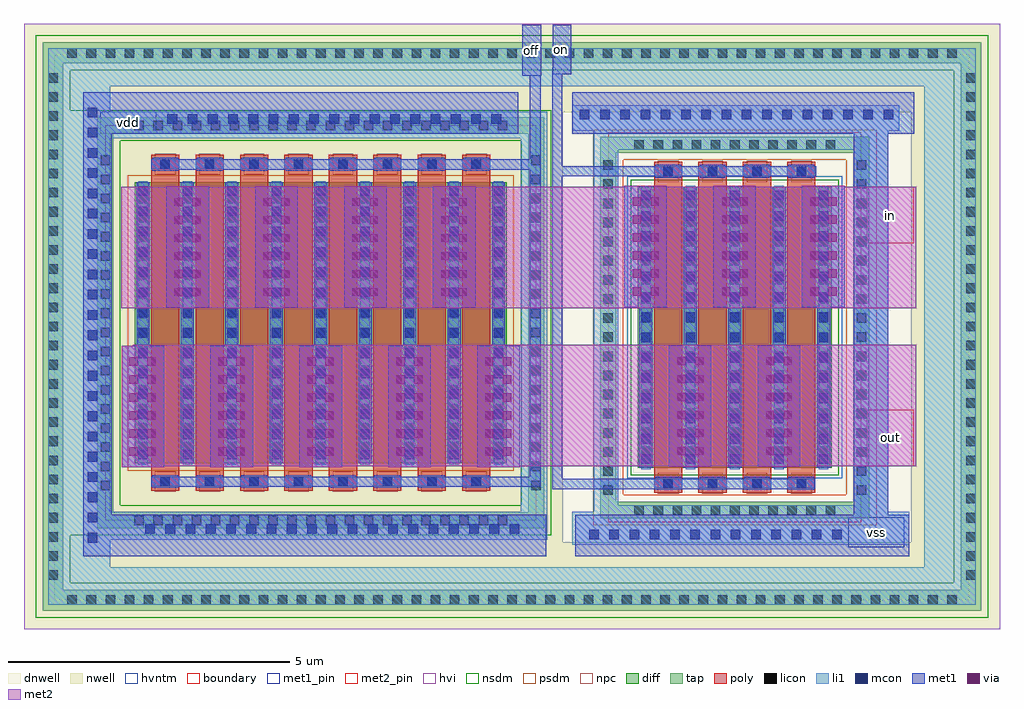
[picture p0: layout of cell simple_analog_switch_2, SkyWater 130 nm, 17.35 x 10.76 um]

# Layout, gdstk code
from math import pi, radians
import gdstk
lib = gdstk.Library(unit=1e-6, precision=1e-09)
def R(c, l, rs):  # rectangles x0, y0, x1, y1
    for r in rs: c.add(gdstk.rectangle(r[:2], r[2:], *l))
def A(c, l, x, y, w, h, nx, ny, dx, dy):  # array of equal rectangles
    R(c, l, [(x+i*dx, y+j*dy, x+i*dx+w, y+j*dy+h) for i in range(nx) for j in range(ny)])
dnwell = (64, 18)
nwell = (64, 20)
diff = (65, 20)
tap = (65, 44)
poly = (66, 20)
licon = (66, 44)
li1 = (67, 20)
mcon = (67, 44)
met1_pin = (68, 16)
met1 = (68, 20)
via = (68, 44)
met2_pin = (69, 16)
met2 = (69, 20)
hvi = (75, 20)
nsdm = (93, 44)
psdm = (94, 20)
npc = (95, 20)
hvntm = (125, 20)
boundary = (235, 4)

sky130_fd_pr__nfet_g5v0d = lib.new_cell('sky130_fd_pr__nfet_g5v0d10v5_N9BQ2J')
R(sky130_fd_pr__nfet_g5v0d, diff, [(-1.725,-2.5,1.725,2.5)])
R(sky130_fd_pr__nfet_g5v0d, tap, [(-2.395,-3.39,2.395,-3.1), (-2.395,-3.1,-2.105,3.1), (2.105,-3.1,2.395,3.1), (-2.395,3.1,2.395,3.39)])
A(sky130_fd_pr__nfet_g5v0d, poly, -1.435, -2.94, 0.5, 5.88, 4, 1, 0.79, 0)
A(sky130_fd_pr__nfet_g5v0d, licon, -1.785, -3.33, 0.17, 0.17, 11, 2, 0.34, 6.49)
A(sky130_fd_pr__nfet_g5v0d, licon, -2.335, -2.98, 0.17, 0.17, 1, 18, 0, 0.34)
A(sky130_fd_pr__nfet_g5v0d, licon, 2.165, -2.98, 0.17, 0.17, 1, 18, 0, 0.34)
A(sky130_fd_pr__nfet_g5v0d, licon, -1.27, -2.86, 0.17, 0.17, 4, 2, 0.79, 5.55)
A(sky130_fd_pr__nfet_g5v0d, licon, -1.665, -2.295, 0.17, 0.17, 5, 14, 0.79, 0.34)
A(sky130_fd_pr__nfet_g5v0d, li1, -1.435, -2.86, 0.5, 0.17, 4, 2, 0.79, 5.55)
A(sky130_fd_pr__nfet_g5v0d, li1, -1.665, -2.52, 0.17, 5.04, 5, 1, 0.79, 0)
R(sky130_fd_pr__nfet_g5v0d, li1, [(-2.335,-3.33,2.335,-3.16), (-2.335,-3.16,-2.165,3.16), (2.165,-3.16,2.335,3.16), (-2.335,3.16,2.335,3.33)])
A(sky130_fd_pr__nfet_g5v0d, mcon, -1.27, -2.86, 0.17, 0.17, 4, 2, 0.79, 5.55)
A(sky130_fd_pr__nfet_g5v0d, mcon, -1.665, -2.425, 0.17, 0.17, 5, 14, 0.79, 0.36)
A(sky130_fd_pr__nfet_g5v0d, met1, -1.415, -2.89, 0.46, 0.23, 4, 2, 0.79, 5.55)
A(sky130_fd_pr__nfet_g5v0d, met1, -1.695, -2.5, 0.23, 5, 5, 1, 0.79, 0)
R(sky130_fd_pr__nfet_g5v0d, hvi, [(-2.58,-3.575,2.58,3.575)])
R(sky130_fd_pr__nfet_g5v0d, nsdm, [(-1.85,-2.625,1.85,2.625)])
R(sky130_fd_pr__nfet_g5v0d, psdm, [(-2.52,-3.515,2.52,-2.975), (-2.52,-2.975,-1.98,2.975), (1.98,-2.975,2.52,2.975), (-2.52,2.975,2.52,3.515)])
A(sky130_fd_pr__nfet_g5v0d, npc, -1.37, -2.96, 0.37, 0.37, 4, 2, 0.79, 5.55)
R(sky130_fd_pr__nfet_g5v0d, hvntm, [(-1.91,-2.685,1.91,2.685)])
R(sky130_fd_pr__nfet_g5v0d, boundary, [(-2.25,-3.465,2.25,3.465)])

sky130_fd_pr__pfet_g5v0d = lib.new_cell('sky130_fd_pr__pfet_g5v0d10v5_KLJ6Y6')
R(sky130_fd_pr__pfet_g5v0d, nwell, [(-4.305,-3.985,4.305,3.985)])
R(sky130_fd_pr__pfet_g5v0d, diff, [(-3.305,-2.5,3.305,2.5)])
R(sky130_fd_pr__pfet_g5v0d, tap, [(-3.975,-3.655,3.975,-3.365), (-3.975,-3.365,-3.685,3.365), (3.685,-3.365,3.975,3.365), (-3.975,3.365,3.975,3.655)])
A(sky130_fd_pr__pfet_g5v0d, poly, -3.015, -2.985, 0.5, 5.97, 8, 1, 0.79, 0)
A(sky130_fd_pr__pfet_g5v0d, licon, -3.315, -3.595, 0.17, 0.17, 20, 2, 0.34, 7.02)
A(sky130_fd_pr__pfet_g5v0d, licon, -3.915, -2.975, 0.17, 0.17, 1, 18, 0, 0.34)
A(sky130_fd_pr__pfet_g5v0d, licon, 3.745, -2.975, 0.17, 0.17, 1, 18, 0, 0.34)
A(sky130_fd_pr__pfet_g5v0d, licon, -2.85, -2.905, 0.17, 0.17, 8, 2, 0.79, 5.64)
A(sky130_fd_pr__pfet_g5v0d, licon, -3.245, -2.295, 0.17, 0.17, 9, 14, 0.79, 0.34)
A(sky130_fd_pr__pfet_g5v0d, li1, -3.015, -2.905, 0.5, 0.17, 8, 2, 0.79, 5.64)
A(sky130_fd_pr__pfet_g5v0d, li1, -3.245, -2.52, 0.17, 5.04, 9, 1, 0.79, 0)
R(sky130_fd_pr__pfet_g5v0d, li1, [(-3.915,-3.595,3.915,-3.425), (-3.915,-3.425,-3.745,3.425), (3.745,-3.425,3.915,3.425), (-3.915,3.425,3.915,3.595)])
A(sky130_fd_pr__pfet_g5v0d, mcon, -2.85, -2.905, 0.17, 0.17, 8, 2, 0.79, 5.64)
A(sky130_fd_pr__pfet_g5v0d, mcon, -3.245, -2.425, 0.17, 0.17, 9, 14, 0.79, 0.36)
A(sky130_fd_pr__pfet_g5v0d, met1, -2.995, -2.935, 0.46, 0.23, 8, 2, 0.79, 5.64)
A(sky130_fd_pr__pfet_g5v0d, met1, -3.275, -2.5, 0.23, 5, 9, 1, 0.79, 0)
R(sky130_fd_pr__pfet_g5v0d, hvi, [(-4.305,-3.985,4.305,3.985)])
R(sky130_fd_pr__pfet_g5v0d, nsdm, [(-4.1,-3.78,4.1,-3.24), (-4.1,-3.24,-3.56,3.24), (3.56,-3.24,4.1,3.24), (-4.1,3.24,4.1,3.78)])
R(sky130_fd_pr__pfet_g5v0d, psdm, [(-3.43,-2.625,3.43,2.625)])
A(sky130_fd_pr__pfet_g5v0d, npc, -2.95, -3.005, 0.37, 0.37, 8, 2, 0.79, 5.64)
R(sky130_fd_pr__pfet_g5v0d, boundary, [(-3.83,-3.51,3.83,3.51)])

iso_switch_via_med = lib.new_cell('iso_switch_via_med')
R(iso_switch_via_med, met1, [(3.06,-14.57,3.82,-12.41)])
A(iso_switch_via_med, via, 3.2, -14.365, 0.15, 0.15, 1, 6, 0, 0.32)
A(iso_switch_via_med, via, 3.52, -14.365, 0.15, 0.15, 1, 6, 0, 0.32)
R(iso_switch_via_med, met2, [(3.06,-14.57,3.82,-12.41)])

simple_analog_switch_2 = lib.new_cell('simple_analog_switch_2')
R(simple_analog_switch_2, dnwell, [(6.59,0.635,22.855,10.335)])
R(simple_analog_switch_2, nwell, [(6.05,0.12,23.4,1.665), (6.05,1.665,7.08,2.31), (21.825,1.665,23.4,9.305), (6.05,2.31,7.025,9.305), (6.05,9.305,23.4,10.88)])
R(simple_analog_switch_2, tap, [(6.38,0.45,23.07,0.82), (6.38,0.82,6.75,10.18), (22.7,0.82,23.07,10.18), (6.38,10.18,23.07,10.55)])
A(simple_analog_switch_2, licon, 6.82, 0.55, 0.17, 0.17, 47, 2, 0.34, 9.73)
A(simple_analog_switch_2, licon, 6.48, 0.995, 0.17, 0.17, 1, 27, 0, 0.34)
A(simple_analog_switch_2, licon, 22.8, 0.995, 0.17, 0.17, 1, 27, 0, 0.34)
R(simple_analog_switch_2, li1, [(6.48,0.55,22.97,1.22), (6.48,1.22,7.585,1.71), (22.05,1.22,22.97,9.77), (15.8,1.62,21.785,2.205), (6.48,1.71,15.35,2.21), (16.18,2.205,16.61,8.815), (20.8,2.205,21.41,8.815), (6.48,2.21,7.585,8.845), (14.88,2.21,15.35,8.845), (16.18,8.815,21.41,8.98), (6.48,8.845,15.35,9.315), (15.8,8.98,21.61,9.43), (6.48,9.315,7.585,9.77), (6.48,9.77,22.97,10.45)])
A(simple_analog_switch_2, mcon, 7.185, 1.66, 0.17, 0.17, 1, 22, 0, 0.36)
A(simple_analog_switch_2, mcon, 16.095, 1.715, 0.17, 0.17, 13, 1, 0.36, 0)
A(simple_analog_switch_2, mcon, 8.205, 1.815, 0.17, 0.17, 19, 1, 0.36, 0)
A(simple_analog_switch_2, mcon, 8.6, 9.1, 0.17, 0.17, 17, 1, 0.36, 0)
A(simple_analog_switch_2, mcon, 15.93, 9.18, 0.17, 0.17, 16, 1, 0.36, 0)
R(simple_analog_switch_2, met1_pin, [(20.7,1.575,21.7,2.11), (7.405,8.93,8.405,9.32), (14.905,9.96,15.245,10.865), (15.445,9.98,15.78,10.86)])
R(simple_analog_switch_2, met1, [(7.1,1.42,15.33,2.15), (15.85,1.42,21.785,2.15), (7.1,2.15,7.61,8.93), (20.8,2.15,21.41,8.93), (15.44,2.61,20.11,2.79), (8.31,2.65,15.24,2.83), (15.44,2.79,15.62,8.17), (15.04,2.83,15.24,8.29), (15.44,8.17,20.13,8.35), (8.31,8.29,15.24,8.47), (15.44,8.35,15.62,9.98), (15.04,8.47,15.24,9.96), (7.1,8.93,14.84,9.66), (15.8,8.93,21.875,9.66), (14.905,9.96,15.245,10.865), (15.44,9.98,15.78,10.1), (15.445,10.1,15.78,10.86)])
R(simple_analog_switch_2, met2_pin, [(21.03,3.02,21.87,4.02), (21.035,6.98,21.865,7.98)])
R(simple_analog_switch_2, met2, [(7.985,3.02,21.91,5.18), (7.78,5.82,21.91,7.98)])
R(simple_analog_switch_2, hvi, [(6.05,0.12,23.4,1.665), (6.05,1.665,7.08,2.31), (15.63,1.665,23.4,1.91), (15.63,1.91,16.105,9.06), (21.265,1.91,23.4,9.06), (6.05,2.31,7.025,9.305), (15.63,9.06,23.4,9.305), (6.05,9.305,23.4,10.88)])
R(simple_analog_switch_2, nsdm, [(6.255,0.325,23.195,0.945), (6.255,0.945,6.875,1.785), (22.575,0.945,23.195,10.055), (6.255,1.785,7.225,9.345), (6.255,9.345,6.875,10.055), (6.255,10.055,23.195,10.675)])
simple_analog_switch_2.add(gdstk.Reference(sky130_fd_pr__nfet_g5v0d, (18.685,5.485), rotation=pi, x_reflection=True))
simple_analog_switch_2.add(gdstk.Reference(sky130_fd_pr__pfet_g5v0d, (11.325,5.565)))
simple_analog_switch_2.add(gdstk.Reference(iso_switch_via_med, (23.7,-6.57), rotation=pi))
simple_analog_switch_2.add(gdstk.Reference(iso_switch_via_med, (22.91,-9.4), rotation=pi))
simple_analog_switch_2.add(gdstk.Reference(iso_switch_via_med, (21.33,-9.4), rotation=pi))
simple_analog_switch_2.add(gdstk.Reference(iso_switch_via_med, (11.045,-9.41), x_reflection=True))
simple_analog_switch_2.add(gdstk.Reference(iso_switch_via_med, (22.12,-6.57), rotation=pi))
simple_analog_switch_2.add(gdstk.Reference(iso_switch_via_med, (20.54,-6.57), rotation=pi))
simple_analog_switch_2.add(gdstk.Reference(iso_switch_via_med, (8.68,-6.58), x_reflection=True))
simple_analog_switch_2.add(gdstk.Reference(iso_switch_via_med, (7.1,-6.58), x_reflection=True))
simple_analog_switch_2.add(gdstk.Reference(iso_switch_via_med, (10.26,-6.58), x_reflection=True))
simple_analog_switch_2.add(gdstk.Reference(iso_switch_via_med, (9.465,-9.41), x_reflection=True))
simple_analog_switch_2.add(gdstk.Reference(iso_switch_via_med, (7.885,-9.41), x_reflection=True))
simple_analog_switch_2.add(gdstk.Reference(iso_switch_via_med, (6.305,-9.41), x_reflection=True))
simple_analog_switch_2.add(gdstk.Reference(iso_switch_via_med, (4.725,-9.41), x_reflection=True))
simple_analog_switch_2.add(gdstk.Reference(iso_switch_via_med, (5.52,-6.58), x_reflection=True))
simple_analog_switch_2.add(gdstk.Label('on', (15.612,10.42), layer=68, texttype=5))
simple_analog_switch_2.add(gdstk.Label('off', (15.075,10.412), layer=68, texttype=5))
simple_analog_switch_2.add(gdstk.Label('vss', (21.2,1.842), layer=68, texttype=5))
simple_analog_switch_2.add(gdstk.Label('out', (21.45,3.52), layer=69, texttype=5))
simple_analog_switch_2.add(gdstk.Label('in', (21.45,7.48), layer=69, texttype=5))
simple_analog_switch_2.add(gdstk.Label('vdd', (7.905,9.125), layer=68, texttype=5))

lib.write_gds('simple_analog_switch_2.gds')
